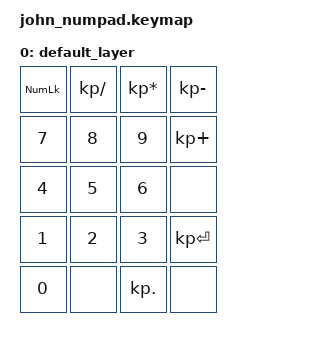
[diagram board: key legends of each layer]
/ {
    keymap {
        compatible = "zmk,keymap";

        /* 5x4 grid
           '+' is 2u tall (leave R2,C3 blank)
           'Enter' is 2u tall (leave R4,C3 blank)
           '0' is 2u wide — we place it at R4,C0 and leave R4,C1 blank
        */
        default_layer {
            bindings = <
                &kp KP_NUMLOCK  &kp KP_SLASH   &kp KP_ASTERISK &kp KP_MINUS
                &kp N7          &kp N8         &kp N9          &kp KP_PLUS
                &kp N4          &kp N5         &kp N6          &none
                &kp N1          &kp N2         &kp N3          &kp KP_ENTER
                &kp N0          &none          &kp KP_DOT      &none
            >;
        };
    };
};

